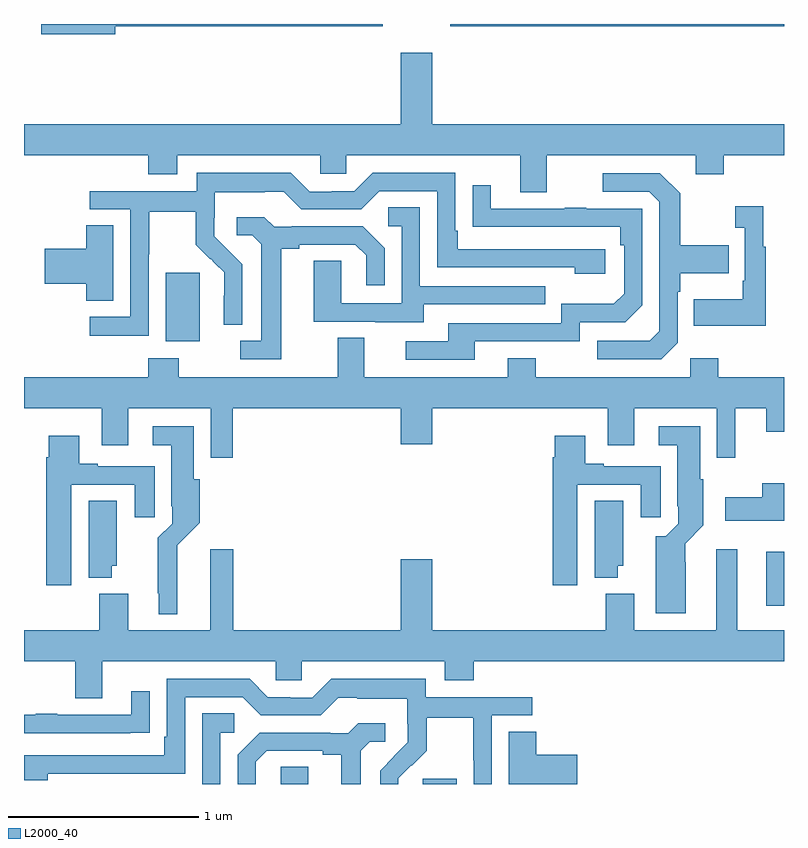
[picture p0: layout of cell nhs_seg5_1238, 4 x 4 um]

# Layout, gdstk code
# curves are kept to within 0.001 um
import gdstk
lib = gdstk.Library(unit=1e-6, precision=1e-09)
def R(c, l, rs):  # rectangles x0, y0, x1, y1
    for r in rs: c.add(gdstk.rectangle(r[:2], r[2:], *l))
def P(c, l, *ps):  # polygons
    for p in ps: c.add(gdstk.Polygon(p, *l))
L2000_40 = (2000, 40)

nhs_seg5_1238 = lib.new_cell('nhs_seg5_1238')
R(nhs_seg5_1238, L2000_40, [(188.352,838.799,188.497,838.889), (189.098,838.799,189.277,838.827), (190.907,839.736,191,840.022), (187.745,841.13,187.924,841.491), (189.244,842.788,191,842.799)])
P(nhs_seg5_1238, L2000_40, [(187.48,842.788),(188.888,842.788),(188.888,842.799),(187.092,842.799),(187.092,842.746),(187.48,842.746)],
  [(189.751,842.108),(190.535,842.108),(190.535,842.009),(190.683,842.009),(190.683,842.108),(191,842.108),(191,842.272),(189.148,842.272),(189.148,842.647),(188.984,842.647),(188.984,842.272),(187,842.272),(187,842.108),(187.655,842.108),(187.655,842.009),(187.807,842.009),(187.807,842.108),(188.559,842.108),(188.559,842.01),(188.697,842.01),(188.697,842.108),(189.611,842.108),(189.611,841.914),(189.751,841.914)],
  [(187.656,841.588),(187.659,841.588),(187.659,841.812),(187.903,841.812),(187.903,841.637),(187.98,841.56),(187.983,841.563),(188.054,841.493),(188.054,841.37),(188.052,841.37),(188.052,841.216),(188.148,841.216),(188.148,841.534),(188.002,841.682),(188.002,841.779),(188.004,841.779),(188.004,841.913),(188.267,841.913),(188.267,841.917),(188.367,841.917),(188.46,841.824),(188.775,841.824),(188.871,841.92),(189.174,841.92),(189.174,841.518),(189.899,841.518),(189.899,841.484),(190.06,841.484),(190.06,841.614),(189.283,841.614),(189.283,841.711),(189.27,841.711),(189.27,842.016),(188.835,842.016),(188.739,841.92),(188.621,841.92),(188.621,841.917),(188.505,841.917),(188.405,842.017),(187.908,842.017),(187.908,841.92),(187.347,841.92),(187.347,841.824),(187.56,841.824),(187.56,841.257),(187.347,841.257),(187.347,841.159),(187.656,841.159)],
  [(190.44,841.122),(190.44,841.391),(190.453,841.391),(190.453,841.487),(190.709,841.487),(190.709,841.635),(190.453,841.635),(190.453,841.907),(190.347,842.013),(190.047,842.013),(190.047,841.917),(190.29,841.917),(190.344,841.863),(190.344,841.182),(190.293,841.131),(190.017,841.131),(190.017,841.035),(190.353,841.035)],
  [(189.373,841.128),(189.924,841.128),(189.924,841.23),(190.164,841.23),(190.254,841.32),(190.254,841.827),(189.959,841.827),(189.959,841.832),(189.847,841.832),(189.847,841.827),(189.457,841.827),(189.457,841.951),(189.361,841.951),(189.361,841.732),(190.138,841.731),(190.138,841.634),(190.158,841.634),(190.158,841.38),(190.105,841.327),(189.828,841.327),(189.828,841.224),(189.233,841.224),(189.233,841.128),(189.009,841.128),(189.009,841.032),(189.373,841.032)],
  [(190.903,841.627),(190.891,841.627),(190.891,841.84),(190.743,841.84),(190.743,841.727),(190.794,841.727),(190.794,841.447),(190.782,841.447),(190.782,841.351),(190.525,841.351),(190.525,841.211),(190.903,841.211)],
  [(189.103,841.323),(189.743,841.323),(189.743,841.419),(189.084,841.419),(189.084,841.835),(188.916,841.835),(188.916,841.734),(188.988,841.734),(188.988,841.329),(188.67,841.329),(188.67,841.553),(188.525,841.553),(188.525,841.233),(188.849,841.233),(188.849,841.229),(189.103,841.229)],
  [(188.353,841.616),(188.449,841.616),(188.449,841.638),(188.744,841.638),(188.801,841.581),(188.801,841.425),(188.898,841.425),(188.898,841.618),(188.782,841.734),(188.41,841.734),(188.41,841.731),(188.316,841.731),(188.264,841.783),(188.121,841.783),(188.121,841.686),(188.202,841.686),(188.249,841.639),(188.249,841.131),(188.139,841.131),(188.139,841.035),(188.353,841.035)],
  [(187.471,841.739),(187.328,841.739),(187.328,841.616),(187.11,841.616),(187.11,841.433),(187.328,841.433),(187.328,841.342),(187.471,841.342)],
  [(188.099,840.776),(188.984,840.776),(188.984,840.588),(189.148,840.588),(189.148,840.776),(190.073,840.776),(190.073,840.582),(190.213,840.582),(190.213,840.776),(190.647,840.776),(190.647,840.516),(190.744,840.516),(190.744,840.776),(190.907,840.776),(190.907,840.652),(191,840.652),(191,840.94),(190.653,840.94),(190.653,841.039),(190.506,841.039),(190.506,840.94),(189.693,840.94),(189.693,841.039),(189.545,841.039),(189.545,840.94),(188.791,840.94),(188.791,841.148),(188.651,841.148),(188.651,840.94),(187.815,840.94),(187.815,841.039),(187.655,841.039),(187.655,840.94),(187,840.94),(187,840.776),(187.409,840.776),(187.409,840.582),(187.549,840.582),(187.549,840.776),(187.983,840.776),(187.983,840.516),(188.099,840.516)],
  [(190.483,839.966),(190.479,839.966),(190.479,840.064),(190.576,840.161),(190.576,840.402),(190.558,840.402),(190.558,840.682),(190.341,840.682),(190.341,840.581),(190.439,840.581),(190.439,840.262),(190.443,840.262),(190.443,840.168),(190.377,840.102),(190.325,840.102),(190.325,839.699),(190.483,839.699)],
  [(187.807,840.056),(187.925,840.174),(187.925,840.402),(187.894,840.402),(187.894,840.682),(187.677,840.682),(187.677,840.581),(187.775,840.581),(187.775,840.262),(187.779,840.262),(187.779,840.168),(187.705,840.094),(187.705,839.803),(187.709,839.803),(187.709,839.693),(187.807,839.693)],
  [(189.913,840.375),(190.247,840.375),(190.247,840.204),(190.351,840.204),(190.351,840.471),(190.051,840.471),(190.051,840.484),(189.955,840.484),(189.955,840.631),(189.794,840.631),(189.794,840.518),(189.782,840.518),(189.782,839.844),(189.913,839.844)],
  [(187.249,840.375),(187.583,840.375),(187.583,840.204),(187.687,840.204),(187.687,840.471),(187.387,840.471),(187.387,840.484),(187.291,840.484),(187.291,840.631),(187.13,840.631),(187.13,840.518),(187.118,840.518),(187.118,839.844),(187.249,839.844)],
  [(191,840.382),(190.885,840.382),(190.885,840.307),(190.692,840.307),(190.692,840.185),(191,840.185)],
  [(187.462,839.949),(187.489,839.949),(187.489,840.29),(187.34,840.29),(187.34,839.885),(187.462,839.885)],
  [(190.126,839.949),(190.153,839.949),(190.153,840.29),(190.004,840.29),(190.004,839.885),(190.126,839.885)],
  [(188.325,839.346),(188.463,839.346),(188.463,839.444),(189.215,839.444),(189.215,839.345),(189.368,839.345),(189.368,839.444),(191,839.444),(191,839.608),(190.753,839.608),(190.753,840.034),(190.643,840.034),(190.643,839.608),(190.213,839.608),(190.213,839.8),(190.061,839.8),(190.061,839.608),(189.148,839.608),(189.148,839.983),(188.984,839.983),(188.984,839.608),(188.102,839.608),(188.102,840.034),(187.979,840.034),(187.979,839.608),(187.549,839.608),(187.549,839.8),(187.397,839.8),(187.397,839.608),(187,839.608),(187,839.444),(187.271,839.444),(187.271,839.25),(187.411,839.25),(187.411,839.444),(188.325,839.444)],
  [(188.969,838.829),(189.039,838.899),(189.042,838.896),(189.119,838.973),(189.119,839.148),(189.364,839.148),(189.364,838.924),(189.366,838.924),(189.366,838.799),(189.462,838.799),(189.462,839.16),(189.676,839.16),(189.676,839.256),(189.114,839.256),(189.114,839.353),(188.617,839.353),(188.517,839.253),(188.402,839.253),(188.402,839.256),(188.283,839.256),(188.187,839.352),(187.752,839.352),(187.752,839.047),(187.739,839.047),(187.739,838.95),(187,838.95),(187,838.82),(187.124,838.82),(187.124,838.854),(187.848,838.854),(187.848,839.256),(188.151,839.256),(188.247,839.16),(188.562,839.16),(188.655,839.253),(188.755,839.253),(188.755,839.249),(189.018,839.249),(189.018,839.115),(189.02,839.115),(189.02,839.018),(188.874,838.87),(188.874,838.799),(188.969,838.799)],
  [(187.559,839.068),(187.661,839.068),(187.661,839.287),(187.565,839.287),(187.565,839.163),(187.175,839.163),(187.175,839.168),(187.063,839.168),(187.063,839.163),(187,839.163),(187,839.067),(187.559,839.067)],
  [(188.034,839.07),(188.107,839.07),(188.107,839.171),(187.938,839.171),(187.938,838.799),(188.034,838.799)],
  [(188.221,838.917),(188.278,838.974),(188.573,838.974),(188.573,838.952),(188.669,838.952),(188.669,838.799),(188.773,838.799),(188.773,838.975),(188.82,839.022),(188.902,839.022),(188.902,839.119),(188.758,839.119),(188.706,839.067),(188.612,839.067),(188.612,839.07),(188.24,839.07),(188.124,838.954),(188.124,838.799),(188.221,838.799)],
  [(189.913,838.952),(189.695,838.952),(189.695,839.075),(189.551,839.075),(189.551,838.799),(189.913,838.799)])

lib.write_gds('nhs_seg5_1238.gds')
